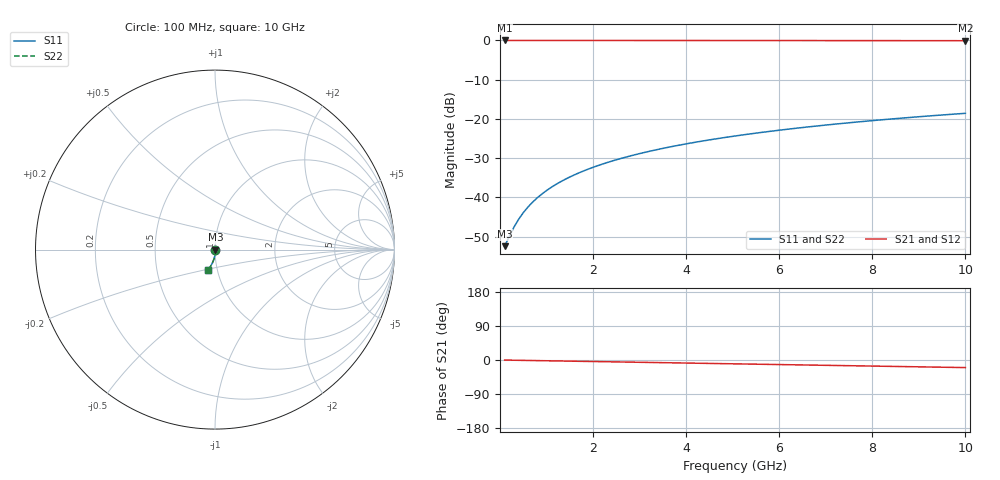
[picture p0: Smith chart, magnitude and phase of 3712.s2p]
# Hz S RI R 50.00
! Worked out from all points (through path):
!   100 points, 100 MHz to 10 GHz, reference 50 ohm
!   highest |S21| = -0.02 dB at 100 MHz (marker M1); lowest = -0.1 dB at 10 GHz (marker M2)
!   group delay of S21, straight-line fit = 5.56 ps
!   lowest |S11| = -52.4 dB at 100 MHz (marker M3), VSWR 1.00, Z = 50.2 - j0.122 ohm
!   |S11| at or under -10 dB: start of sweep to end of sweep
!   |S22| runs from -52.4 to -18.6 dB; largest |S21 - S12| = 0
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1e8  0.00207 -0.00121  0.9979 -0.0035  0.9979 -0.0035  0.00207 -0.00121
2e8  0.00207 -0.00243  0.9979 -0.007  0.9979 -0.007  0.00207 -0.00243
3e8  0.00206 -0.00364  0.9978 -0.0105  0.9978 -0.0105  0.00206 -0.00364
4e8  0.00203 -0.00486  0.9978 -0.014  0.9978 -0.014  0.00203 -0.00486
5e8  0.002 -0.00607  0.9977 -0.0175  0.9977 -0.0175  0.002 -0.00607
6e8  0.00196 -0.00728  0.9976 -0.021  0.9976 -0.021  0.00196 -0.00728
7e8  0.00191 -0.0085  0.9975 -0.0245  0.9975 -0.0245  0.00191 -0.0085
9e8  0.00178 -0.0109  0.9973 -0.0315  0.9973 -0.0315  0.00178 -0.0109
1e9  0.0017 -0.0121  0.9971 -0.035  0.9971 -0.035  0.0017 -0.0121
1.2e9  0.00152 -0.0146  0.9968 -0.042  0.9968 -0.042  0.00152 -0.0146
1.5e9  0.00118 -0.0182  0.9963 -0.0524  0.9963 -0.0524  0.00118 -0.0182
1.8e9  0.000762 -0.0218  0.9956 -0.0629  0.9956 -0.0629  0.000762 -0.0218
2.1e9  0.000271 -0.0254  0.9947 -0.0733  0.9947 -0.0733  0.000271 -0.0254
2.5e9  -0.000503 -0.0302  0.9935 -0.0873  0.9935 -0.0873  -0.000503 -0.0302
2.9e9  -0.00141 -0.035  0.992 -0.1012  0.992 -0.1012  -0.00141 -0.035
3.4e9  -0.00273 -0.0409  0.9898 -0.1185  0.9898 -0.1185  -0.00273 -0.0409
4.2e9  -0.00528 -0.0503  0.9856 -0.1461  0.9856 -0.1461  -0.00528 -0.0503
5.1e9  -0.00876 -0.0606  0.9799 -0.1769  0.9799 -0.1769  -0.00876 -0.0606
5.9e9  -0.0124 -0.0696  0.9739 -0.2041  0.9739 -0.2041  -0.0124 -0.0696
6.7e9  -0.0165 -0.0783  0.9671 -0.2311  0.9671 -0.2311  -0.0165 -0.0783
8.4e9  -0.0268 -0.0961  0.9499 -0.2874  0.9499 -0.2874  -0.0268 -0.0961
1e10  -0.0383 -0.1115  0.9305 -0.339  0.9305 -0.339  -0.0383 -0.1115
